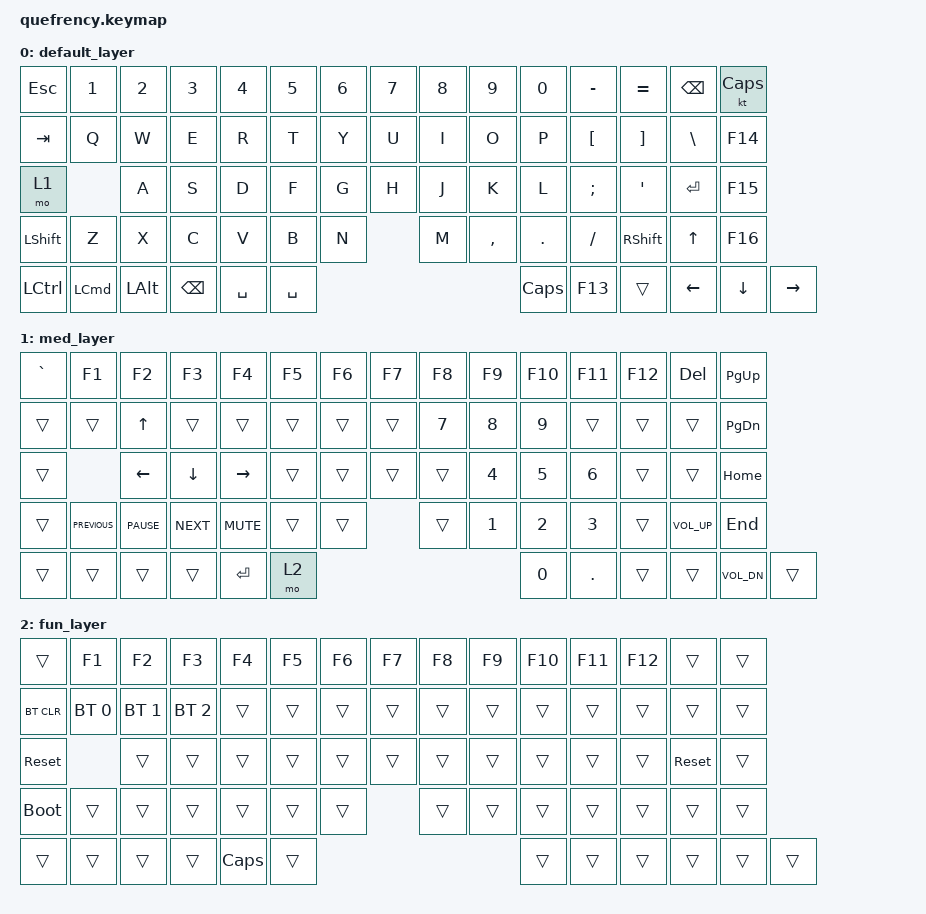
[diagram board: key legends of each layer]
/*
 * Copyright (c) 2020 The ZMK Contributors
 *
 * SPDX-License-Identifier: MIT
 */

#include <behaviors.dtsi>
#include <dt-bindings/zmk/bt.h>
#include <dt-bindings/zmk/keys.h>

#define DEFAULT 0
#define MED   1
#define FUN   2

/ {
    keymap {
        compatible = "zmk,keymap";

        // ----------------------------------------------      -----------------------------------------------------
        // | ESC  |  1   |  2  |  3   |  4  |  5  |  6  |      |  7  |  8  |  9  |  0  |  -  |  =  |  BKSPC |  `   |
        // | TAB   |  Q   |  W  |  E   |  R  |  T  |        |  Y  |  U  |  I  |  O  |  P  |  [  |  ]  |  \  | DEL  |
        // | CAPS  |  A   |  S  |  D   |  F  |  G  |        |  H  |  J  |  K  |  L  |  ;  |  '  |   ENTER  | PGUP |
        // | SHIFT   |  Z   |  X  |  C  |  V   |  B  |        |  N  |  M  |  ,  |  .  |  /  |  RSHFT  |  UP | PGDN |
        // |  LCTRL   | LGUI | LALT  | FN|   SPACE  |        |    SPACE    | RALT | FN | RCTRL | LFT | DWN | RGHT |
        // -------------------------------------------        ------------------------------------------------------

        default_layer {
            bindings = <
&kp ESC    &kp N1           &kp N2               &kp N3         &kp N4                &kp N5         &kp N6       &kp N7     &kp N8  &kp N9     &kp N0    &kp MINUS  &kp EQUAL             &kp BSPC            &kt CAPSLOCK
&kp TAB              &kp Q                &kp W          &kp E                 &kp R          &kp T               &kp Y      &kp U   &kp I      &kp O     &kp P      &kp LBKT              &kp RBKT  &kp BSLH                &kp F14
&mo 1                       &kp A                &kp S          &kp D                 &kp F          &kp G        &kp H      &kp J   &kp K      &kp L     &kp SEMI   &kp SQT               &kp RET             &kp F15
&kp LSHFT                   &kp Z                &kp X          &kp C                 &kp V          &kp B        &kp N      &kp M   &kp COMMA  &kp DOT   &kp FSLH              &kp RSHFT            &kp UP    &kp F16
&kp LCTRL  &kp LCMD         &kp LEFT_ALT                        &kp BACKSPACE                        &kp SPACE    &kp SPACE                     &kp CAPS  &kp F13    &trans                &kp LEFT            &kp DOWN      &kp RIGHT
            >;
        };

        med_layer {
            bindings = <
&kp GRAVE  &kp F1          &kp F2                  &kp F3               &kp F4              &kp F5              &kp F6       &kp F7  &kp F8  &kp F9        &kp F10       &kp F11       &kp F12          &kp DEL                &kp PAGE_UP
&trans             &trans                  &kp UP               &trans              &trans              &trans               &trans  &trans  &kp N7        &kp N8        &kp N9        &trans           &trans   &trans                      &kp PAGE_DOWN
&trans                     &kp LEFT                &kp DOWN             &kp RIGHT           &trans              &trans       &trans  &trans  &kp NUMBER_4  &kp N5        &kp NUMBER_6  &trans           &trans                 &kp HOME
&trans                     &kp C_PREVIOUS          &kp C_PAUSE          &kp C_NEXT          &kp C_MUTE          &trans       &trans  &trans  &kp NUMBER_1  &kp NUMBER_2  &kp NUMBER_3           &trans           &kp C_VOL_UP  &kp END
&trans     &trans          &trans                                       &trans                                  &kp ENTER    &mo 2                         &kp NUMBER_0  &kp PERIOD    &trans           &trans                 &kp C_VOL_DN  &trans
            >;
        };

        fun_layer {
            bindings = <
&trans       &kp F1                &kp F2                &kp F3                &kp F4          &kp F5          &kp F6      &kp F7  &kp F8  &kp F9  &kp F10  &kp F11  &kp F12          &trans              &trans
&bt BT_CLR           &bt BT_SEL 0          &bt BT_SEL 1          &bt BT_SEL 2          &trans          &trans              &trans  &trans  &trans  &trans   &trans   &trans           &trans      &trans          &trans
&sys_reset                         &trans                &trans                &trans          &trans          &trans      &trans  &trans  &trans  &trans   &trans   &trans           &sys_reset          &trans
&bootloader                        &trans                &trans                &trans          &trans          &trans      &trans  &trans  &trans  &trans   &trans            &trans              &trans  &trans
&trans       &trans                &trans                                      &trans                          &kp CAPS    &trans                  &trans   &trans   &trans           &trans              &trans  &trans
            >;
        };
    };
};
